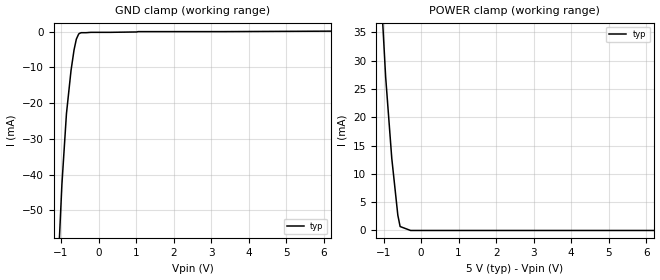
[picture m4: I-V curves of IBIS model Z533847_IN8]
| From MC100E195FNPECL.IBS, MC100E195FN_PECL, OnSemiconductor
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| (C) COPYRIGHT 1993-2000
| MENTOR GRAPHICS CORPORATION
| ICX STANDARD LIBRARY, ICX PROJECT MODELING,
| ICX CUSTOM MODELING, ICX VENDOR MODEL
| ALL RIGHTS RESERVED.
| THE FOLLOWING ARE TRADEMARKS OR SERVICE MARKS OF
| MENTOR GRAPHICS CORPORATION:ICX (R), ICX STANDARD
| LIBRARY(R), ICX PROJECT MODELING(R), ICX CUSTOM
| MODELING(R), qualityIBIS(TM), MODELVIEWER(TM),
| AND MODELEDITOR(TM)
| ALL COPIES OF SOFTWARE, INCLUDING BUT NOT LIMITED TO
| ANY MODIFICATIONS, ENHANCEMENTS OR DERIVATIVE WORKS,
| MUST CONTAIN ALL MENTOR GRAPHICS CORPORATION'S
| NOTICES AND LEGENDS, INCLUDING THOSE EMBEDDED IN
| SOFTWARE AND THOSE AFFIXED TO SOFTWARE MEDIUM
| AND CONTAINER, AS RECEIVED FROM MENTOR GRAPHICS
| CORPORATION.
| Model Application Version 1.89 2/18/99.
[Model] Z533847_IN8
Model_type Input_ECL
Vinl = 3.525V
Vinh = 3.835V
C_comp 4.000pF NA NA
| variable typ   min   max
[Voltage Range] 5.000V NA NA
[GND Clamp Reference] 0.000V NA NA
[POWER Clamp Reference] 5.000V NA NA
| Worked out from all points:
|   GND clamp passes 1 mA (typ) near -0.54 V on its own axis
|   POWER clamp passes 1 mA (typ) near -0.57 V on its own axis
[GND Clamp]
-5V       -1.764A    NA         NA
-1.079V   -66mA      NA         NA
-977mV    -42.8mA    NA         NA
-856mV    -23mA      NA         NA
-734mV    -10.9mA    NA         NA
-653mV    -5.1mA     NA         NA
-592mV    -2.1mA     NA         NA
-531mV    -700uA     NA         NA
-460mV    -300uA     NA         NA
1.053V    0A         NA         NA
10V       302.7uA    NA         NA
[POWER Clamp]
-5V       1.038A     NA         NA
-1.978V   259.8mA    NA         NA
-1.431V   109.3mA    NA         NA
-1.289V   75.96mA    NA         NA
-1.146V   51.87mA    NA         NA
-944mV    27.18mA    NA         NA
-781mV    12.79mA    NA         NA
-619mV    2.695mA    NA         NA
-558mV    697.3uA    NA         NA
-279mV    0A         NA         NA
10V       0A         NA         NA
